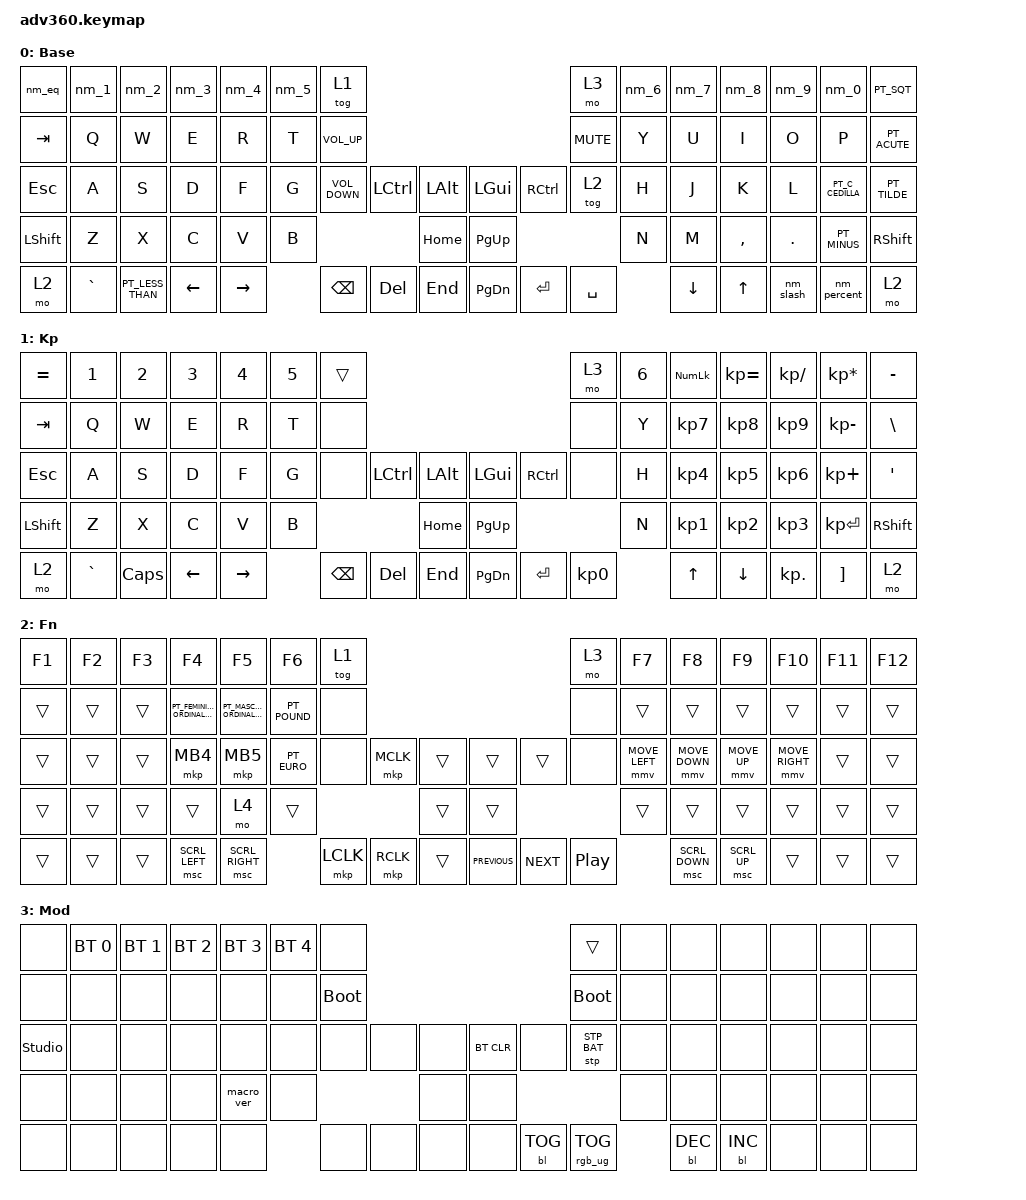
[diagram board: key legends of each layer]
#define ZMK_POINTING_DEFAULT_MOVE_VAL 800

#include <dt-bindings/zmk/stp.h>
#include <input/processors.dtsi>
#include <behaviors.dtsi>
#include <dt-bindings/zmk/backlight.h>
#include <dt-bindings/zmk/bt.h>
#include <dt-bindings/zmk/keys.h>
#include <dt-bindings/zmk/pointing.h>
#include <dt-bindings/zmk/rgb.h>
#include "keys_pt.h"

/ {
    behaviors {
        #include "macros.dtsi"
      #include "version.dtsi"

        hm: homerow_mods {
            compatible = "zmk,behavior-hold-tap";
            label = "HOMEROW_MODS";
            #binding-cells = <2>;
            tapping-term-ms = <200>;
            quick_tap_ms = <175>;
            flavor = "tap-preferred";
            bindings = <&kp>, <&kp>;
        };

        nm_eq: nm_eq {
            compatible = "zmk,behavior-mod-morph";
            #binding-cells = <0>;
            bindings = <&kp PT_EXCLAMATION>, <&kp PT_AT_SIGN>;

            mods = <(MOD_LSFT|MOD_RSFT)>;
        };

        nm_1: nm_1 {
            compatible = "zmk,behavior-mod-morph";
            #binding-cells = <0>;
            bindings = <&kp PT_PLUS>, <&kp PT_N1>;

            mods = <(MOD_LSFT|MOD_RSFT)>;
        };

        nm_2: nm_2 {
            compatible = "zmk,behavior-mod-morph";
            #binding-cells = <0>;
            bindings = <&kp PT_LBKT>, <&kp PT_N2>;

            mods = <(MOD_LSFT|MOD_RSFT)>;
        };

        nm_3: nm_3 {
            compatible = "zmk,behavior-mod-morph";
            #binding-cells = <0>;
            bindings = <&kp PT_LBRC>, <&kp PT_N3>;

            mods = <(MOD_LSFT|MOD_RSFT)>;
        };

        nm_4: nm_4 {
            compatible = "zmk,behavior-mod-morph";
            #binding-cells = <0>;
            bindings = <&kp PT_LPAR>, <&kp PT_N4>;

            mods = <(MOD_LSFT|MOD_RSFT)>;
        };

        nm_5: nm_5 {
            compatible = "zmk,behavior-mod-morph";
            #binding-cells = <0>;
            bindings = <&kp PT_AMPS>, <&kp PT_N5>;

            mods = <(MOD_LSFT|MOD_RSFT)>;
        };

        nm_6: nm_6 {
            compatible = "zmk,behavior-mod-morph";
            #binding-cells = <0>;
            bindings = <&kp PT_EQUAL>, <&kp PT_N6>;

            mods = <(MOD_LSFT|MOD_RSFT)>;
        };

        nm_7: nm_7 {
            compatible = "zmk,behavior-mod-morph";
            #binding-cells = <0>;
            bindings = <&kp PT_RPAR>, <&kp PT_N7>;

            mods = <(MOD_LSFT|MOD_RSFT)>;
        };

        nm_8: nm_8 {
            compatible = "zmk,behavior-mod-morph";
            #binding-cells = <0>;
            bindings = <&kp PT_RBRC>, <&kp PT_N8>;

            mods = <(MOD_LSFT|MOD_RSFT)>;
        };

        nm_9: nm_9 {
            compatible = "zmk,behavior-mod-morph";
            #binding-cells = <0>;
            bindings = <&kp PT_RBKT>, <&kp PT_N9>;

            mods = <(MOD_LSFT|MOD_RSFT)>;
        };

        nm_0: nm_0 {
            compatible = "zmk,behavior-mod-morph";
            #binding-cells = <0>;
            bindings = <&kp PT_ASTERISK>, <&kp PT_N0>;

            mods = <(MOD_LSFT|MOD_RSFT)>;
        };

        nm_slash: nm_slash {
            compatible = "zmk,behavior-mod-morph";
            label = "NM_SLASH";
            bindings = <&kp PT_SLASH>, <&kp PT_DOUBLE_QUOTES>;

            #binding-cells = <0>;
            mods = <(MOD_LSFT|MOD_RSFT)>;
        };

        nm_percent: nm_percent {
            compatible = "zmk,behavior-mod-morph";
            label = "NM_PERCENT";
            bindings = <&kp PT_PERCENT>, <&kp PT_DOLLAR>;

            #binding-cells = <0>;
            mods = <(MOD_LSFT|MOD_RSFT)>;
        };
    };

    keymap {
        compatible = "zmk,keymap";

        default_layer {
            display-name = "Base";
            bindings = <
&nm_eq     &nm_1      &nm_2             &nm_3     &nm_4      &nm_5  &tog 1                                                            &mo 3       &nm_6  &nm_7     &nm_8         &nm_9      &nm_0             &kp PT_SQT
&kp TAB    &kp Q      &kp W             &kp E     &kp R      &kp T  &kp C_VOLUME_UP                                                   &kp C_MUTE  &kp Y  &kp U     &kp I         &kp O      &kp P             &kp PT_ACUTE
&kp ESC    &kp A      &kp S             &kp D     &kp F      &kp G  &kp C_VOLUME_DOWN  &kp LCTRL  &kp LALT      &kp LGUI   &kp RCTRL  &tog 2      &kp H  &kp J     &kp K         &kp L      &kp PT_C_CEDILLA  &kp PT_TILDE
&kp LSHFT  &kp Z      &kp X             &kp C     &kp V      &kp B                                &kp HOME      &kp PG_UP                         &kp N  &kp M     &kp COMMA     &kp DOT    &kp PT_MINUS      &kp RSHFT
&mo 2      &kp GRAVE  &kp PT_LESS_THAN  &kp LEFT  &kp RIGHT         &kp BSPC           &kp DEL    &kp END       &kp PG_DN  &kp ENTER  &kp SPACE          &kp DOWN  &kp UP_ARROW  &nm_slash  &nm_percent       &mo 2
            >;
        };

        keypad {
            display-name = "Kp";
            bindings = <
&kp EQUAL  &kp N1     &kp N2    &kp N3    &kp N4     &kp N5  &trans                                                   &mo 3      &kp N6  &kp KP_NUM  &kp KP_EQUAL  &kp KP_DIVIDE  &kp KP_MULTIPLY  &kp MINUS
&kp TAB    &kp Q      &kp W     &kp E     &kp R      &kp T   &none                                                    &none      &kp Y   &kp KP_N7   &kp KP_N8     &kp KP_N9      &kp KP_MINUS     &kp BSLH
&kp ESC    &kp A      &kp S     &kp D     &kp F      &kp G   &none     &kp LCTRL  &kp LALT      &kp LGUI   &kp RCTRL  &none      &kp H   &kp KP_N4   &kp KP_N5     &kp KP_N6      &kp KP_PLUS      &kp SQT
&kp LSHFT  &kp Z      &kp X     &kp C     &kp V      &kp B                        &kp HOME      &kp PG_UP                        &kp N   &kp KP_N1   &kp KP_N2     &kp KP_N3      &kp KP_ENTER     &kp RSHFT
&mo 2      &kp GRAVE  &kp CAPS  &kp LEFT  &kp RIGHT          &kp BSPC  &kp DEL    &kp END       &kp PG_DN  &kp ENTER  &kp KP_N0          &kp UP      &kp DOWN      &kp KP_DOT     &kp RBKT         &mo 2
            >;
        };

        fn {
            display-name = "Fn";
            bindings = <
&kp F1  &kp F2  &kp F3  &kp F4                             &kp F5                              &kp F6        &tog 1                                                        &mo 3             &kp F7          &kp F8          &kp F9        &kp F10          &kp F11  &kp F12
&trans  &trans  &trans  &kp PT_FEMININE_ORDINAL_INDICATOR  &kp PT_MASCULINE_ORDINAL_INDICATOR  &kp PT_POUND  &none                                                         &none             &trans          &trans          &trans        &trans           &trans   &trans
&trans  &trans  &trans  &mkp MB4                           &mkp MB5                            &kp PT_EURO   &none      &mkp MCLK  &trans      &trans          &trans      &none             &mmv MOVE_LEFT  &mmv MOVE_DOWN  &mmv MOVE_UP  &mmv MOVE_RIGHT  &trans   &trans
&trans  &trans  &trans  &trans                             &mo 4                               &trans                              &trans      &trans                                        &trans          &trans          &trans        &trans           &trans   &trans
&trans  &trans  &trans  &msc SCRL_LEFT                     &msc SCRL_RIGHT                                   &mkp LCLK  &mkp RCLK  &trans      &kp C_PREVIOUS  &kp C_NEXT  &kp C_PLAY_PAUSE                  &msc SCRL_DOWN  &msc SCRL_UP  &trans           &trans   &trans
            >;
        };

        mod {
            display-name = "Mod";
            bindings = <
&none           &bt BT_SEL 0  &bt BT_SEL 1  &bt BT_SEL 2  &bt BT_SEL 3  &bt BT_SEL 4  &none                                                  &trans           &none  &none       &none       &none  &none  &none
&none           &none         &none         &none         &none         &none         &bootloader                                            &bootloader      &none  &none       &none       &none  &none  &none
&studio_unlock  &none         &none         &none         &none         &none         &none        &none  &none      &bt BT_CLR  &none       &stp STP_BAT     &none  &none       &none       &none  &none  &none
&none           &none         &none         &none         &macro_ver    &none                             &none      &none                                    &none  &none       &none       &none  &none  &none
&none           &none         &none         &none         &none                       &none        &none  &none      &none       &bl BL_TOG  &rgb_ug RGB_TOG         &bl BL_DEC  &bl BL_INC  &none  &none  &none
            >;
        };

        extra1 {
            display-name = "Red";
            status = "reserved";
        };

        extra2 {
            display-name = "Purple";
            status = "reserved";
        };

        extra3 {
            display-name = "Cyan";
            status = "reserved";
        };

        extra4 {
            display-name = "Yellow";
            status = "reserved";
        };
    };
};

/* USB-friendly mouse tuning: finer update steps and a gentle acceleration ramp. */

&mmv {
    trigger-period-ms = <8>;
    delay-ms = <0>;
    time-to-max-speed-ms = <400>;
    acceleration-exponent = <1>;
};

&msc {
    trigger-period-ms = <8>;
    delay-ms = <0>;
    time-to-max-speed-ms = <0>;
    acceleration-exponent = <0>;
};

/* Layer 4 is the empty "Red" layer. Holding V on the Fn layer activates it,
 * doubling mouse movement (800 -> 1600) for 4K displays.
 */

&mmv_input_listener {
    warp_4k {
        layers = <4>;
        input-processors = <&zip_xy_scaler 2 1>;
    };
};
